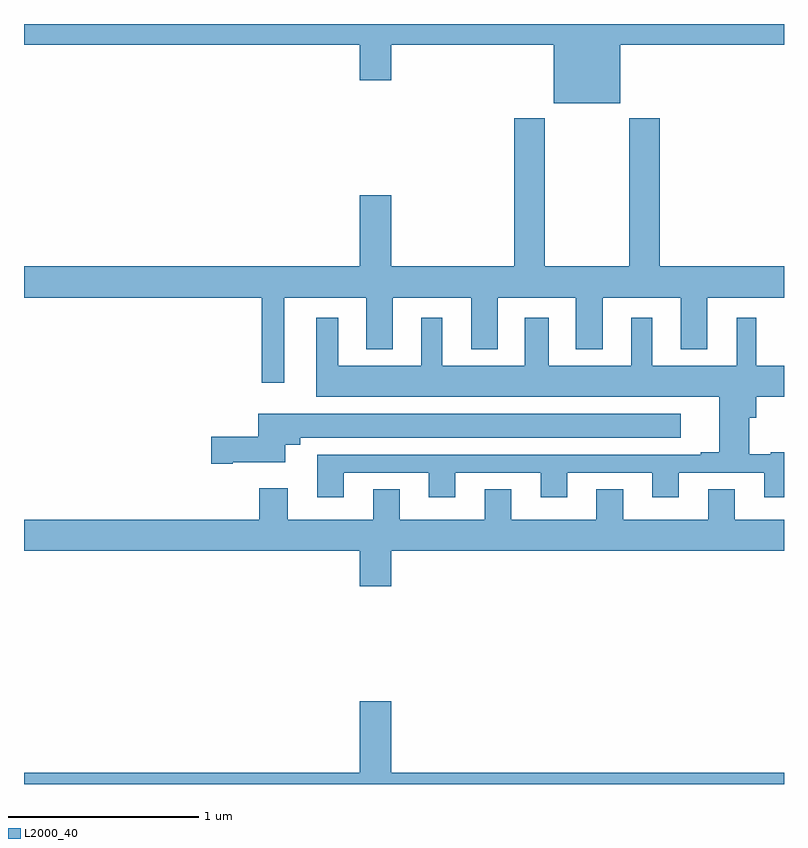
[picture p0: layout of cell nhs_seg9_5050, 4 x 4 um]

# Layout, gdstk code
import gdstk
lib = gdstk.Library(unit=1e-6, precision=1e-09)
def P(c, l, *ps):  # polygons
    for p in ps: c.add(gdstk.Polygon(p, *l))
L2000_40 = (2000, 40)

nhs_seg9_5050 = lib.new_cell('nhs_seg9_5050')
P(nhs_seg9_5050, L2000_40, [(406.138,1224.392),(407,1224.392),(407,1224.5),(403,1224.5),(403,1224.392),(404.768,1224.392),(404.768,1224.204),(404.932,1224.204),(404.932,1224.392),(405.788,1224.392),(405.788,1224.083),(406.138,1224.083)],
  [(404.371,1223.06),(404.801,1223.06),(404.801,1222.787),(404.941,1222.787),(404.941,1223.06),(405.353,1223.06),(405.353,1222.787),(405.493,1222.787),(405.493,1223.06),(405.905,1223.06),(405.905,1222.787),(406.045,1222.787),(406.045,1223.06),(406.457,1223.06),(406.457,1222.787),(406.597,1222.787),(406.597,1223.06),(407,1223.06),(407,1223.224),(406.346,1223.224),(406.346,1224.004),(406.186,1224.004),(406.186,1223.224),(405.741,1223.224),(405.741,1224.004),(405.581,1224.004),(405.581,1223.224),(404.932,1223.224),(404.932,1223.599),(404.768,1223.599),(404.768,1223.224),(403,1223.224),(403,1223.06),(404.25,1223.06),(404.25,1222.611),(404.371,1222.611)],
  [(404.683,1222.137),(405.131,1222.137),(405.131,1222.008),(405.271,1222.008),(405.271,1222.137),(405.719,1222.137),(405.719,1222.008),(405.859,1222.008),(405.859,1222.137),(406.307,1222.137),(406.307,1222.008),(406.447,1222.008),(406.447,1222.137),(406.895,1222.137),(406.895,1222.008),(407,1222.008),(407,1222.246),(406.931,1222.246),(406.931,1222.235),(406.816,1222.235),(406.816,1222.427),(406.855,1222.427),(406.855,1222.538),(407,1222.538),(407,1222.702),(406.855,1222.702),(406.855,1222.954),(406.751,1222.954),(406.751,1222.702),(406.306,1222.702),(406.306,1222.954),(406.196,1222.954),(406.196,1222.702),(405.763,1222.702),(405.763,1222.954),(405.635,1222.954),(405.635,1222.702),(405.202,1222.702),(405.202,1222.954),(405.092,1222.954),(405.092,1222.702),(404.653,1222.702),(404.653,1222.954),(404.537,1222.954),(404.537,1222.538),(406.658,1222.538),(406.658,1222.246),(406.562,1222.246),(406.562,1222.233),(404.543,1222.233),(404.543,1222.008),(404.683,1222.008)],
  [(404.098,1222.193),(404.374,1222.193),(404.374,1222.286),(404.455,1222.286),(404.455,1222.322),(406.456,1222.322),(406.456,1222.45),(404.234,1222.45),(404.234,1222.328),(403.986,1222.328),(403.986,1222.186),(404.098,1222.186)],
  [(404.932,1221.728),(407,1221.728),(407,1221.892),(406.741,1221.892),(406.741,1222.052),(406.601,1222.052),(406.601,1221.892),(406.153,1221.892),(406.153,1222.052),(406.013,1222.052),(406.013,1221.892),(405.565,1221.892),(405.565,1222.052),(405.425,1222.052),(405.425,1221.892),(404.977,1221.892),(404.977,1222.052),(404.837,1222.052),(404.837,1221.892),(404.389,1221.892),(404.389,1222.057),(404.237,1222.057),(404.237,1221.892),(403,1221.892),(403,1221.728),(404.768,1221.728),(404.768,1221.54),(404.932,1221.54)],
  [(407,1220.56),(404.932,1220.56),(404.932,1220.935),(404.768,1220.935),(404.768,1220.56),(403,1220.56),(403,1220.5),(407,1220.5)])

lib.write_gds('nhs_seg9_5050.gds')
